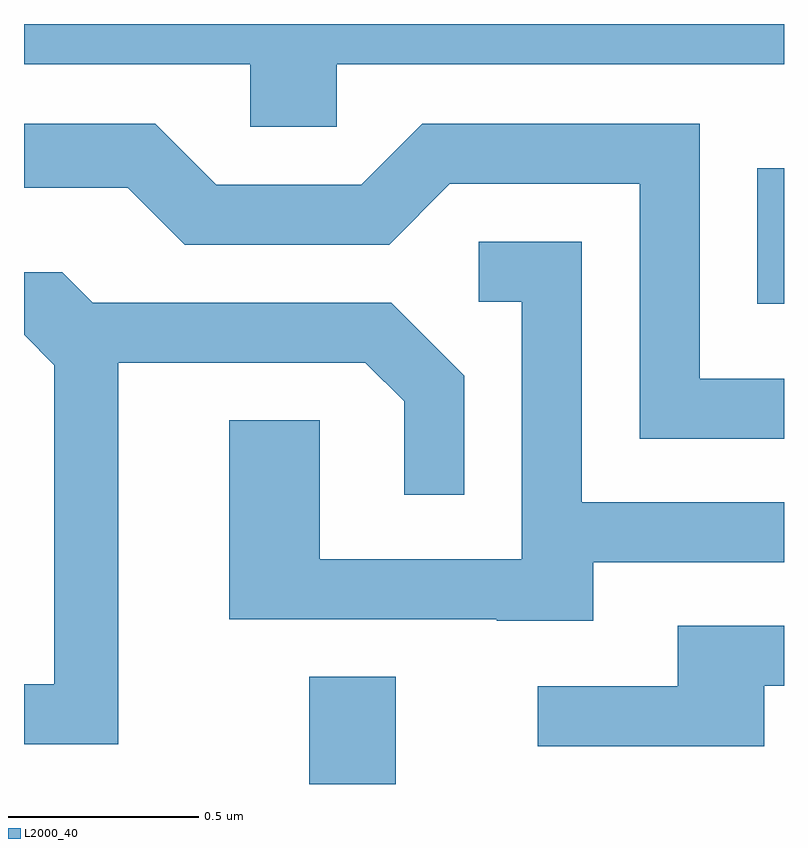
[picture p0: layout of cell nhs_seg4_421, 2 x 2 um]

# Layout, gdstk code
import gdstk
lib = gdstk.Library(unit=1e-6, precision=1e-09)
def R(c, l, rs):  # rectangles x0, y0, x1, y1
    for r in rs: c.add(gdstk.rectangle(r[:2], r[2:], *l))
def P(c, l, *ps):  # polygons
    for p in ps: c.add(gdstk.Polygon(p, *l))
L2000_40 = (2000, 40)

nhs_seg4_421 = lib.new_cell('nhs_seg4_421')
R(nhs_seg4_421, L2000_40, [(189.361,1263.982,189.589,1264.264), (190.541,1265.246,190.611,1265.603)])
P(nhs_seg4_421, L2000_40, [(189.434,1265.876),(190.611,1265.876),(190.611,1265.982),(188.611,1265.982),(188.611,1265.876),(189.206,1265.876),(189.206,1265.711),(189.434,1265.711)],
  [(190.611,1265.049),(190.389,1265.049),(190.389,1265.719),(189.659,1265.719),(189.499,1265.559),(189.117,1265.559),(188.957,1265.719),(188.611,1265.719),(188.611,1265.551),(188.884,1265.551),(189.034,1265.401),(189.572,1265.401),(189.732,1265.561),(190.231,1265.561),(190.231,1264.891),(190.611,1264.891)],
  [(190.109,1264.566),(190.611,1264.566),(190.611,1264.724),(190.079,1264.724),(190.079,1265.409),(189.808,1265.409),(189.808,1265.251),(189.921,1265.251),(189.921,1264.574),(189.389,1264.574),(189.389,1264.939),(189.151,1264.939),(189.151,1264.416),(189.855,1264.416),(189.855,1264.411),(190.109,1264.411)],
  [(188.859,1265.091),(189.509,1265.091),(189.611,1264.989),(189.611,1264.743),(189.769,1264.743),(189.769,1265.057),(189.577,1265.249),(188.792,1265.249),(188.712,1265.329),(188.611,1265.329),(188.611,1265.164),(188.691,1265.084),(188.691,1264.244),(188.611,1264.244),(188.611,1264.086),(188.859,1264.086)],
  [(190.559,1264.241),(190.611,1264.241),(190.611,1264.399),(190.331,1264.399),(190.331,1264.239),(189.963,1264.239),(189.963,1264.081),(190.559,1264.081)])

lib.write_gds('nhs_seg4_421.gds')
